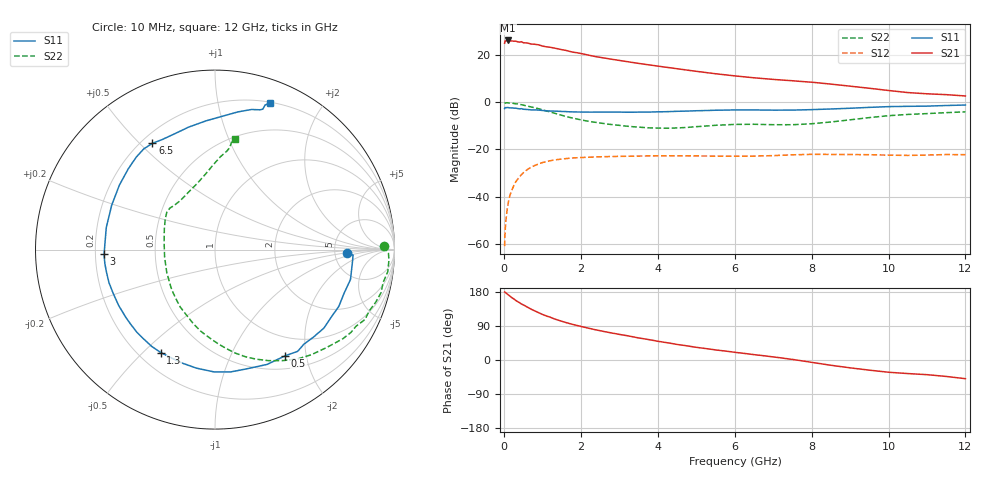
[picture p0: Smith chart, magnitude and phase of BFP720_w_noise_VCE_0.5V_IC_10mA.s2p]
! Infineon Technologies  Discrete & RF Semiconductors
! BFP720
! VCE =  0.5 V,  IC =  10 mA
! Common Emitter S-Parameters:  Aug 2012
# GHz  S  MA  R  50
!  f  S11  S21  S12  S22
! GHz  MAG  ANG  MAG  ANG  MAG  ANG  MAG  ANG
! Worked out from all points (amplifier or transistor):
!   105 points, 10 MHz to 12 GHz, reference 50 ohm
!   highest |S21| = 26.1 dB at 100 MHz (marker M1)
!   |S21| within 3 dB of that: start of sweep to 1.233 GHz
!   unconditionally stable (mu >= 1): start of sweep to 16.58 MHz; 5.318 GHz to end of sweep
!   at 300 MHz: K = 0.08, MSG = 29.8 dB, |S12| = -33.7 dB
!   at 3.6 GHz: K = 0.73, MSG = 19.5 dB, |S12| = -22.8 dB
!   at 12 GHz: K = 1.07, MAG = 10.8 dB, |S12| = -22.2 dB
!   lowest NFmin = 0.53 dB at 450 MHz
!   S11 on the Smith chart (normalised r, x): 10 MHz: 6.50, -0.51; 500 MHz: 0.69, -1.64; 1.3 GHz: 0.29, -0.57; 3 GHz: 0.24, -0.02; 6.5 GHz: 0.24, +0.55; 12 GHz: 0.21, +1.42
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0.01  0.7346 -1.4  17.74 179.3  0.0009 8.2  0.9394 1.1
0.02  0.7699 -2.3  19.73 179.2  0.0016 70.7  0.9666 -1.2
0.1  0.773 -12.5  20.27 172.4  0.007 82.5  0.9705 -7.3
0.3  0.7479 -35.8  19.64 157.2  0.0207 72.4  0.9246 -21.7
0.35  0.734 -41.6  18.98 154.0  0.0235 71.0  0.9219 -25.0
0.45  0.7303 -50.9  19.04 147.6  0.0294 65.8  0.8868 -31.4
0.5  0.709 -56.6  18.1 145.3  0.0323 63.7  0.8682 -34.9
0.6  0.7025 -65.6  17.93 139.7  0.0376 58.9  0.8277 -41.2
0.7  0.6873 -75.3  17.02 134.1  0.0423 54.9  0.7945 -47.5
0.9  0.6816 -90.4  16.32 124.6  0.0497 47.6  0.7253 -58.5
1  0.6685 -98.9  15.41 120.0  0.053 43.9  0.6867 -64.3
1.3  0.6485 -117.7  14 108.7  0.0598 35.1  0.5877 -78.9
1.7  0.6273 -138.6  11.91 96.2  0.0653 26.0  0.478 -96.4
2.1  0.6179 -153.2  10.3 86.2  0.0681 19.7  0.4079 -111.0
3  0.6186 -177.6  7.654 67.5  0.0715 9.6  0.3238 -139.2
4.1  0.628 154.5  5.659 47.8  0.0733 1.0  0.2825 -174.8
5  0.6602 137.1  4.501 33.4  0.073 -4.7  0.3041 158.2
6.1  0.6869 124.3  3.541 19.1  0.0722 -8.7  0.3398 141.3
6.5  0.6871 120.5  3.287 14.1  0.0725 -9.5  0.3416 137.4
8.5  0.7191 94.0  2.416 -13.9  0.0786 -19.9  0.3818 105.0
10.5  0.8186 72.1  1.6 -35.8  0.0749 -28.0  0.5518 83.2
12  0.8723 69.5  1.356 -49.3  0.0777 -34.1  0.6258 80.0
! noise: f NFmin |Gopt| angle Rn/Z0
0.45  0.53  0.29  1  0.21
1.8  0.58  0.26  18  0.12
2.4  0.64  0.23  38  0.29
5.5  0.78  0.11  20  0.14
10  0.97  0.4  -78  0.22
